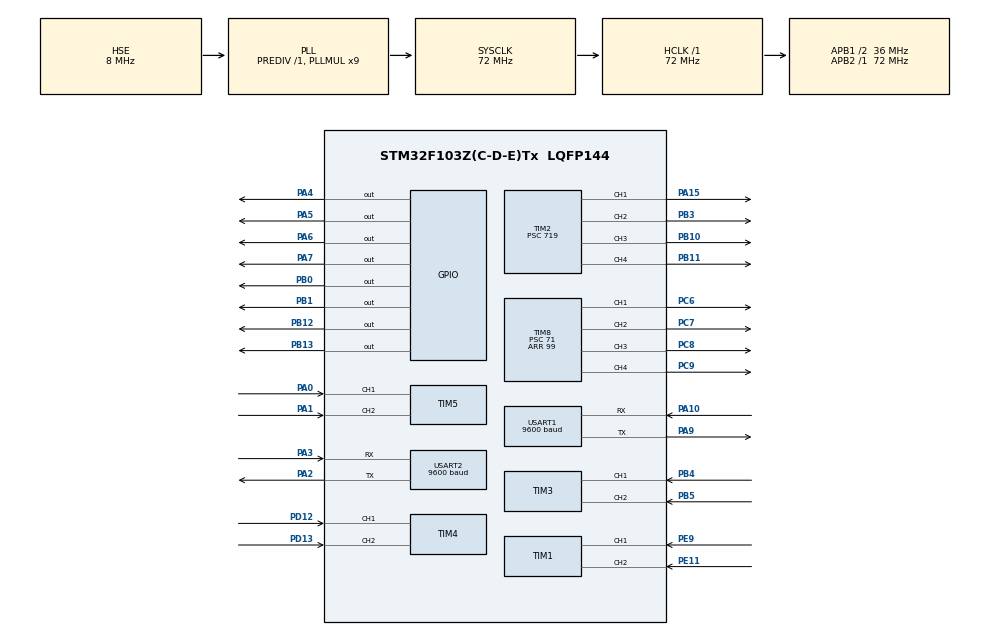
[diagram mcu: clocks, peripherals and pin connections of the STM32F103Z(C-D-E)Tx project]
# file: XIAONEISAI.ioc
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Mcu.Family=STM32F1
Mcu.Name=STM32F103Z(C-D-E)Tx
Mcu.Package=LQFP144
NVIC.PriorityGroup=NVIC_PRIORITYGROUP_4
NVIC.TIM6_IRQn=true\:0\:0\:false\:false\:true\:true\:true\:true
NVIC.TIM8_CC_IRQn=true\:0\:0\:false\:false\:true\:true\:true\:true
NVIC.USART1_IRQn=true\:0\:0\:false\:false\:true\:true\:true\:true
NVIC.USART2_IRQn=true\:0\:0\:false\:false\:true\:true\:true\:true
OSC_IN.Mode=HSE-External-Oscillator
OSC_IN.Signal=RCC_OSC_IN
OSC_OUT.Mode=HSE-External-Oscillator
OSC_OUT.Signal=RCC_OSC_OUT
PA0-WKUP.Signal=S_TIM5_CH1
PA1.Signal=S_TIM5_CH2
PA10.Mode=Asynchronous
PA10.Signal=USART1_RX
PA13.Mode=Serial_Wire
PA13.Signal=SYS_JTMS-SWDIO
PA14.Mode=Serial_Wire
PA14.Signal=SYS_JTCK-SWCLK
PA15.Signal=S_TIM2_CH1_ETR
PA2.Mode=Asynchronous
PA2.Signal=USART2_TX
PA3.Mode=Asynchronous
PA3.Signal=USART2_RX
PA4.Signal=GPIO_Output
PA5.Signal=GPIO_Output
PA6.Signal=GPIO_Output
PA7.Signal=GPIO_Output
PA9.Mode=Asynchronous
PA9.Signal=USART1_TX
PB0.PinState=GPIO_PIN_SET
PB0.Signal=GPIO_Output
PB1.PinState=GPIO_PIN_SET
PB1.Signal=GPIO_Output
PB10.Signal=S_TIM2_CH3
PB11.Signal=S_TIM2_CH4
PB12.Signal=GPIO_Output
PB13.Signal=GPIO_Output
PB3.Signal=S_TIM2_CH2
PB4.Signal=S_TIM3_CH1
PB5.Signal=S_TIM3_CH2
PC6.Signal=S_TIM8_CH1
PC7.Signal=S_TIM8_CH2
PC8.Signal=S_TIM8_CH3
PC9.Signal=S_TIM8_CH4
PD12.Signal=S_TIM4_CH1
PD13.Signal=S_TIM4_CH2
PE11.Signal=S_TIM1_CH2
PE9.Signal=S_TIM1_CH1
ProjectManager.HeapSize=0x200
ProjectManager.StackSize=0x400
ProjectManager.TargetToolchain=MDK-ARM V5.32
RCC.AHBFreq_Value=72000000
RCC.APB1CLKDivider=RCC_HCLK_DIV2
RCC.APB1Freq_Value=36000000
RCC.APB1TimFreq_Value=72000000
RCC.APB2Freq_Value=72000000
RCC.APB2TimFreq_Value=72000000
RCC.HCLKFreq_Value=72000000
RCC.PLLMUL=RCC_PLL_MUL9
RCC.PLLSourceVirtual=RCC_PLLSOURCE_HSE
RCC.SYSCLKFreq_VALUE=72000000
RCC.SYSCLKSource=RCC_SYSCLKSOURCE_PLLCLK
RCC.USBFreq_Value=72000000
SH.S_TIM1_CH1.0=TIM1_CH1,Encoder_Interface
SH.S_TIM1_CH2.0=TIM1_CH2,Encoder_Interface
SH.S_TIM2_CH1_ETR.0=TIM2_CH1,PWM Generation1 CH1
SH.S_TIM2_CH2.0=TIM2_CH2,PWM Generation2 CH2
SH.S_TIM2_CH3.0=TIM2_CH3,PWM Generation3 CH3
SH.S_TIM2_CH4.0=TIM2_CH4,PWM Generation4 CH4
SH.S_TIM3_CH1.0=TIM3_CH1,Encoder_Interface
SH.S_TIM3_CH2.0=TIM3_CH2,Encoder_Interface
SH.S_TIM4_CH1.0=TIM4_CH1,Encoder_Interface
SH.S_TIM4_CH2.0=TIM4_CH2,Encoder_Interface
SH.S_TIM5_CH1.0=TIM5_CH1,Encoder_Interface
SH.S_TIM5_CH2.0=TIM5_CH2,Encoder_Interface
SH.S_TIM8_CH1.0=TIM8_CH1,PWM Generation1 CH1
SH.S_TIM8_CH2.0=TIM8_CH2,PWM Generation2 CH2
SH.S_TIM8_CH3.0=TIM8_CH3,PWM Generation3 CH3
SH.S_TIM8_CH4.0=TIM8_CH4,PWM Generation4 CH4
TIM1.EncoderMode=TIM_ENCODERMODE_TI12
TIM2.Channel-PWM\ Generation1\ CH1=TIM_CHANNEL_1
TIM2.Channel-PWM\ Generation2\ CH2=TIM_CHANNEL_2
TIM2.Channel-PWM\ Generation3\ CH3=TIM_CHANNEL_3
TIM2.Channel-PWM\ Generation4\ CH4=TIM_CHANNEL_4
TIM2.Prescaler=719
TIM3.EncoderMode=TIM_ENCODERMODE_TI12
TIM4.EncoderMode=TIM_ENCODERMODE_TI12
TIM6.Prescaler=719
TIM8.Channel-PWM\ Generation1\ CH1=TIM_CHANNEL_1
TIM8.Channel-PWM\ Generation2\ CH2=TIM_CHANNEL_2
TIM8.Channel-PWM\ Generation3\ CH3=TIM_CHANNEL_3
TIM8.Channel-PWM\ Generation4\ CH4=TIM_CHANNEL_4
TIM8.Period=99
TIM8.Prescaler=71
TIM8.Pulse-PWM\ Generation1\ CH1=50
TIM8.Pulse-PWM\ Generation2\ CH2=50
TIM8.Pulse-PWM\ Generation3\ CH3=50
TIM8.Pulse-PWM\ Generation4\ CH4=50
USART1.BaudRate=9600
USART1.VirtualMode=VM_ASYNC
USART2.BaudRate=9600
USART2.VirtualMode=VM_ASYNC
VP_TIM2_VS_ClockSourceINT.Mode=Internal
VP_TIM6_VS_ClockSourceINT.Mode=Enable_Timer
VP_TIM8_VS_ClockSourceINT.Mode=Internal
board=custom

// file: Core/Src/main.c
/* USER CODE BEGIN Header */
/**
  ******************************************************************************
  * @file           : main.c
  * @brief          : Main program body
  ******************************************************************************
  * @attention
  *
  * Copyright (c) 2025 STMicroelectronics.
  * All rights reserved.
  *
  * This software is licensed under terms that can be found in the LICENSE file
  * in the root directory of this software component.
  * If no LICENSE file comes with this software, it is provided AS-IS.
  *
  ******************************************************************************
  */
/* USER CODE END Header */
#include "main.h"
#include "tim.h"
#include "usart.h"
#include "gpio.h"

/* USER CODE BEGIN Includes */
#include "move.h"
#include "pid.h"
#include "step_motor.h"
/* USER CODE END Includes */

/* USER CODE BEGIN PD */
#define CATCH_MOVE 500

/* USER CODE END PD */

void SystemClock_Config(void);
/* USER CODE BEGIN PFP */
void LFMotor(int8_t speed);
void RFMotor(int8_t speed);
void LBMotor(int8_t speed);
void RBMotor(int8_t speed);
void Brake(void);
/* USER CODE END PFP */

/* USER CODE BEGIN 0 */
uint8_t recieveData[7];
uint8_t Catchsg90 ;
uint32_t timeout = 0;
uint8_t current_move ;
float initial_yaw = 0.0f;
int base_speed = 50;
float current_yaw = 0.0f;
float target_speed_forward = 0;  // 前进/后退速度
float target_speed_left = 0;     // 左移/右移速度
float target_speed_rotate = 0;   // 旋转速度
/* USER CODE END 0 */

int main(void)
{

  /* MCU Configuration--------------------------------------------------------*/

  /* Reset of all peripherals, Initializes the Flash interface and the Systick. */
  HAL_Init();

  /* Configure the system clock */
  SystemClock_Config();

  /* Initialize all configured peripherals */
  MX_GPIO_Init();
  MX_TIM2_Init();
  MX_TIM3_Init();
  MX_USART1_UART_Init();
  MX_TIM1_Init();
  MX_TIM4_Init();
  MX_TIM5_Init();
  MX_TIM8_Init();
  MX_TIM6_Init();
  MX_USART2_UART_Init();
  /* USER CODE BEGIN 2 */
	HAL_TIM_Base_Start_IT(&htim2);
	HAL_TIM_PWM_Start(&htim2, TIM_CHANNEL_1);//时钟二pwm初始化（底盘）
	HAL_TIM_PWM_Start(&htim2, TIM_CHANNEL_2);
	HAL_TIM_PWM_Start(&htim2, TIM_CHANNEL_3);
	HAL_TIM_PWM_Start(&htim2, TIM_CHANNEL_4);
	HAL_TIM_PWM_Start(&htim1, TIM_CHANNEL_1);//时钟一pwm初始化（舵机）
	HAL_TIM_PWM_Start(&htim4, TIM_CHANNEL_1);//时钟四pwm初始化（丝杆）
	Brake();//设置初始状态为刹停
	__HAL_TIM_SET_COMPARE(&htim1,TIM_CHANNEL_1,CATCH_MOVE);
	__HAL_TIM_SET_AUTORELOAD(&htim4,2000-1);
	HAL_UART_Receive_IT(&huart1, recieveData, sizeof(recieveData));
	timeout = HAL_GetTick();
  /* USER CODE END 2 */

  /* Infinite loop */
  /* USER CODE BEGIN WHILE */
  while (1)
  {
		if (HAL_GetTick() - timeout > 100)
    {
        Brake();
        // 超时后把PID目标速度设为0，电机停止
        target_speed_forward = 0;
        target_speed_left = 0;
        target_speed_rotate = 0;
    }
    /* USER CODE END WHILE */

  }
}

void SystemClock_Config(void)
{
  RCC_OscInitTypeDef RCC_OscInitStruct = {0};
  RCC_ClkInitTypeDef RCC_ClkInitStruct = {0};

  /** Initializes the RCC Oscillators according to the specified parameters
  * in the RCC_OscInitTypeDef structure.
  */
  RCC_OscInitStruct.OscillatorType = RCC_OSCILLATORTYPE_HSE;
  RCC_OscInitStruct.HSEState = RCC_HSE_ON;
  RCC_OscInitStruct.HSEPredivValue = RCC_HSE_PREDIV_DIV1;
  RCC_OscInitStruct.HSIState = RCC_HSI_ON;
  RCC_OscInitStruct.PLL.PLLState = RCC_PLL_ON;
  RCC_OscInitStruct.PLL.PLLSource = RCC_PLLSOURCE_HSE;
  RCC_OscInitStruct.PLL.PLLMUL = RCC_PLL_MUL9;
  if (HAL_RCC_OscConfig(&RCC_OscInitStruct) != HAL_OK)
  {
    Error_Handler();
  }

  /** Initializes the CPU, AHB and APB buses clocks
  */
  RCC_ClkInitStruct.ClockType = RCC_CLOCKTYPE_HCLK|RCC_CLOCKTYPE_SYSCLK
                              |RCC_CLOCKTYPE_PCLK1|RCC_CLOCKTYPE_PCLK2;
  RCC_ClkInitStruct.SYSCLKSource = RCC_SYSCLKSOURCE_PLLCLK;
  RCC_ClkInitStruct.AHBCLKDivider = RCC_SYSCLK_DIV1;
  RCC_ClkInitStruct.APB1CLKDivider = RCC_HCLK_DIV2;
  RCC_ClkInitStruct.APB2CLKDivider = RCC_HCLK_DIV1;

  if (HAL_RCC_ClockConfig(&RCC_ClkInitStruct, FLASH_LATENCY_2) != HAL_OK)
  {
    Error_Handler();
  }
}

/* USER CODE BEGIN 4 */
void HAL_UART_RxCpltCallback(UART_HandleTypeDef *huart)
{
    if (huart == &huart1)
    {
			  if(huart->gState == HAL_UART_STATE_READY)
				{
		         HAL_UART_Transmit_IT(&huart2,recieveData,sizeof(recieveData));
	      }
        switch(recieveData[4])
        {
            // 前进（W，ASCII 87）
            case 87:
                current_move = 87;
                initial_yaw = current_yaw;
                timeout = HAL_GetTick();
                // 设置PID目标速度：前进50脉冲/ms
                target_speed_forward = 50.0f;
                target_speed_left = 0;
                target_speed_rotate = 0;
                break;

            // 后退（S，ASCII 83）
            case 83:
                current_move = 83;
                initial_yaw = current_yaw;
                timeout = HAL_GetTick();
                // 设置PID目标速度：后退-50脉冲/ms
                target_speed_forward = -50.0f;
                target_speed_left = 0;
                target_speed_rotate = 0;
                break;

            // 左移（A，ASCII 65）
            case 65:
                current_move = 65;
                initial_yaw = current_yaw;
                timeout = HAL_GetTick();
                // 设置PID目标速度：左移50脉冲/ms
                target_speed_forward = 0;
                target_speed_left = 50.0f;
                target_speed_rotate = 0;
                break;

            // 右移（D，ASCII 68）
            case 68:
                current_move = 68;
                initial_yaw = current_yaw;
                timeout = HAL_GetTick();
                // 设置PID目标速度：右移-50脉冲/ms
                target_speed_forward = 0;
                target_speed_left = -50.0f;
                target_speed_rotate = 0;
                break;

            // （可以加旋转指令，比如Q/E）
            case 81: // 左旋转（Q）
                current_move = 81;
                initial_yaw = current_yaw;
                timeout = HAL_GetTick();
                target_speed_forward = 0;
                target_speed_left = 0;
                target_speed_rotate = 30.0f;
                break;

            case 69: // 右旋转（E）
                current_move = 69;
                initial_yaw = current_yaw;
                timeout = HAL_GetTick();
                target_speed_forward = 0;
                target_speed_left = 0;
                target_speed_rotate = -30.0f;
                break;
						case 'Z'://第一组步进抬升
							  Motor_HandleCtrlData(CTRL_DATA_GROUP1);
						case 'X'://第二组步进抬升
							  Motor_HandleCtrlData(CTRL_DATA_GROUP2);
						case 'C'://第三组步进抬升
							  Motor_HandleCtrlData(CTRL_DATA_ALL);
        }

        // 重新开启UART接收中断
        HAL_UART_Receive_IT(&huart1, recieveData, sizeof(recieveData));
    }
}

void HAL_TIM_PeriodElapsedCallback(TIM_HandleTypeDef *htim)
{
    if (htim == &htim6)
    {
        // 1. 计算编码器速度
        Encoder_CalcSpeed(&htim1, 10);  // 左前
        Encoder_CalcSpeed(&htim3, 10);  // 右前
        Encoder_CalcSpeed(&htim4, 10);  // 左后
        Encoder_CalcSpeed(&htim5, 10);  // 右后

        // 2. 速度分解：把“前进/左移/旋转”分解到4个电机
        // 左前电机：前进 - 左移 - 旋转
        float target_LF = target_speed_forward - target_speed_left - target_speed_rotate;
        // 右前电机：前进 + 左移 + 旋转
        float target_RF = target_speed_forward + target_speed_left + target_speed_rotate;
        // 左后电机：前进 + 左移 - 旋转
        float target_LB = target_speed_forward + target_speed_left - target_speed_rotate;
        // 右后电机：前进 - 左移 + 旋转
        float target_RB = target_speed_forward - target_speed_left + target_speed_rotate;

        // 3. 设置PID目标
        PID_SetTarget(1, target_LF);
        PID_SetTarget(2, target_RF);
        PID_SetTarget(3, target_LB);
        PID_SetTarget(4, target_RB);

        // 4. 读取当前速度
        float speed_LF = Encoder_GetSpeed(&htim1);
        float speed_RF = Encoder_GetSpeed(&htim3);
        float speed_LB = Encoder_GetSpeed(&htim4);
        float speed_RB = Encoder_GetSpeed(&htim5);

        // 5. PID计算
        float out_LF = PID_Calc(&pid_LF, speed_LF);
        float out_RF = PID_Calc(&pid_RF, speed_RF);
        float out_LB = PID_Calc(&pid_LB, speed_LB);
        float out_RB = PID_Calc(&pid_RB, speed_RB);

        // 6. 控制电机
        LFMotor((int8_t)out_LF);
        RFMotor((int8_t)out_RF);
        LBMotor((int8_t)out_LB);
        RBMotor((int8_t)out_RB);
    }
}
/* USER CODE END 4 */

void Error_Handler(void)
{
  __disable_irq();
  while (1)
  {
  }
}
